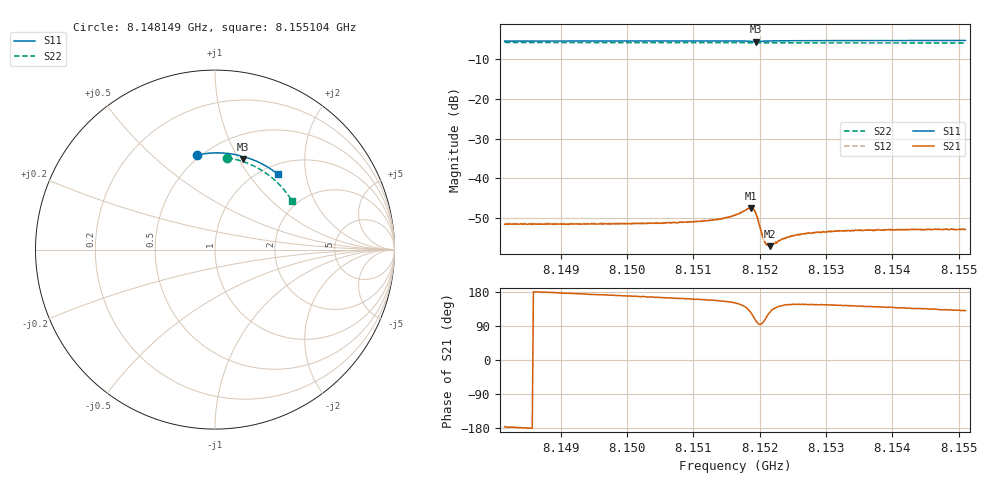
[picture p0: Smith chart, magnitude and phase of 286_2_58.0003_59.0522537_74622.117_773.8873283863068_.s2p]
#  HZ  S  RI  R  50.00
! Rohde & Schwarz Vector Network Analyzer
! Rohde-Schwarz,ZNB20-2Port,1311601062101988,3.16
! Created: UTC 3/21/2024, 1:03:05 AM
! freq[Hz]  re:S11  im:S11  re:S21  im:S21  re:S12  im:S12  re:S22  im:S22
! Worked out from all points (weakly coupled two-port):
!   401 points, 8.148149 GHz to 8.155104 GHz, reference 50 ohm
!   highest |S21| = -47.54 dB at 8.15187 GHz (marker M1); lowest = -57.2 dB at 8.152148 GHz (marker M2)
!   lowest |S11| = -5.5 dB at 8.15194 GHz (marker M3), VSWR 3.25, Z = 37.3 + j52.3 ohm
!   |S11| at or under -10 dB: nowhere
!   |S22| runs from -5.9 to -5.7 dB; largest |S21 - S12| = 0.00013
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8.1481494e9  -0.0991 0.5272  -0.0026 -0.000183  -0.00267 -7.37e-05  0.0684 0.5114
8.1493143e9  -0.0187 0.538  -0.00263 0.000262  -0.00265 0.000316  0.1428 0.4947
8.1504792e9  0.0625 0.5367  -0.00261 0.000685  -0.00263 0.000725  0.213 0.4673
8.1512615e9  0.1174 0.5285  -0.00273 0.0011  -0.0027 0.00116  0.2577 0.4431
8.151418e9  0.1285 0.5259  -0.00276 0.00127  -0.00281 0.00132  0.2662 0.4378
8.1516267e9  0.1438 0.5213  -0.00296 0.00166  -0.00293 0.00174  0.2775 0.4305
8.1518179e9  0.1575 0.5123  -0.00291 0.00292  -0.00286 0.00295  0.2875 0.4233
8.1518701e9  0.1589 0.5083  -0.00236 0.00347  -0.00231 0.00355  0.2901 0.4211
8.1519048e9  0.1584 0.5059  -0.00169 0.00368  -0.00163 0.00373  0.2917 0.42
8.1519396e9  0.1569 0.5054  -0.000877 0.0035  -0.000833 0.00355  0.2935 0.4186
8.1519744e9  0.1561 0.507  -0.000349 0.00296  -0.000299 0.00299  0.2951 0.4175
8.1520613e9  0.1608 0.5116  -0.000355 0.00164  -0.000313 0.00163  0.2996 0.4145
8.1521135e9  0.165 0.5126  -0.000633 0.00128  -0.000621 0.0013  0.3024 0.4125
8.1521483e9  0.1681 0.5127  -0.000793 0.00114  -0.000821 0.00114  0.3042 0.411
8.152183e9  0.1711 0.5125  -0.000972 0.00107  -0.000976 0.00105  0.306 0.4097
8.1523221e9  0.182 0.5105  -0.00133 0.00102  -0.00134 0.000977  0.3129 0.4042
8.1524438e9  0.1908 0.508  -0.0015 0.00103  -0.00149 0.00103  0.3191 0.3993
8.1525655e9  0.1992 0.5052  -0.00162 0.00106  -0.00162 0.00111  0.3251 0.3942
8.1527915e9  0.2145 0.4995  -0.00172 0.00113  -0.0017 0.00114  0.336 0.3845
8.1531045e9  0.2347 0.491  -0.00174 0.00123  -0.00174 0.00129  0.3504 0.3709
8.1539564e9  0.2873 0.4637  -0.00169 0.00147  -0.00168 0.0015  0.3869 0.3309
8.1551039e9  0.3524 0.4185  -0.00145 0.00171  -0.00142 0.00174  0.4286 0.2715
